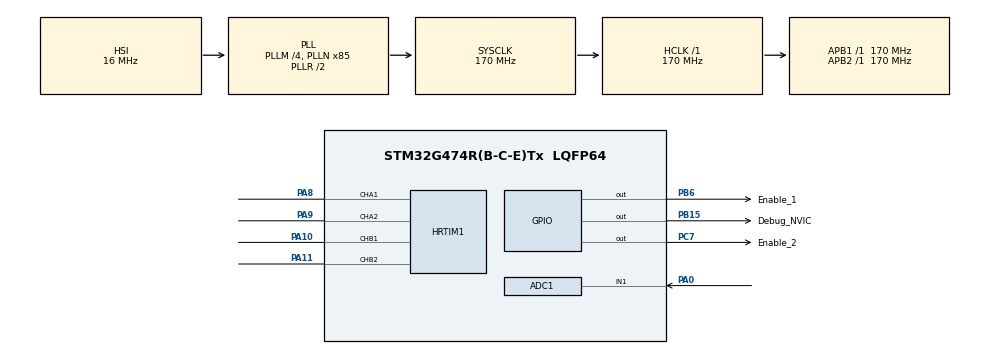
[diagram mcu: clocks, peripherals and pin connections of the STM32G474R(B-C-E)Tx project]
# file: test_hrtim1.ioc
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ADC1.Channel-0\#ChannelRegularConversion=ADC_CHANNEL_1
ADC1.DMAContinuousRequests=DISABLE
ADC1.ExternalTrigConv=ADC_EXTERNALTRIG_HRTIM_TRG1
ADC1.NbrOfConversion=1
ADC1.NbrOfConversionFlag=1
ADC1.OffsetNumber-0\#ChannelRegularConversion=ADC_OFFSET_NONE
ADC1.Rank-0\#ChannelRegularConversion=1
ADC1.SamplingTime-0\#ChannelRegularConversion=ADC_SAMPLETIME_12CYCLES_5
ADC1.master=1
HRTIM1.ADCTrigger1_Source1=HRTIM_ADCTRIGGEREVENT13_MASTER_CMP3
HRTIM1.ADCTrigger_Id1=HRTIM_ADCTRIGGER_1
HRTIM1.ADCTrigger_Id4=__NULL
HRTIM1.Adrom_TA=HRTIM_TIM_ADROM_CREST
HRTIM1.AutoDelayedMode2-Output_TA1TA2=HRTIM_AUTODELAYEDMODE_AUTODELAYED_NOTIMEOUT
HRTIM1.AutoDelayedMode2-Output_TB1TB2=HRTIM_AUTODELAYEDMODE_AUTODELAYED_NOTIMEOUT
HRTIM1.AutoDelayedMode4-Output_TA1TA2=HRTIM_AUTODELAYEDMODE_AUTODELAYED_NOTIMEOUT
HRTIM1.AutoDelayedMode4-Output_TB1TB2=HRTIM_AUTODELAYEDMODE_AUTODELAYED_NOTIMEOUT
HRTIM1.CompareUnit1-MasterTimer=HRTIM_COMPAREUNIT_1
HRTIM1.CompareUnit1-Output_TA1TA2=HRTIM_COMPAREUNIT_1
HRTIM1.CompareUnit1-Output_TB1TB2=HRTIM_COMPAREUNIT_1
HRTIM1.CompareUnit2-MasterTimer=HRTIM_COMPAREUNIT_2
HRTIM1.CompareUnit2-Output_TA1TA2=HRTIM_COMPAREUNIT_2
HRTIM1.CompareUnit2-Output_TB1TB2=HRTIM_COMPAREUNIT_2
HRTIM1.CompareUnit3-MasterTimer=HRTIM_COMPAREUNIT_3
HRTIM1.CompareUnit3-Output_TA1TA2=HRTIM_COMPAREUNIT_3
HRTIM1.CompareUnit3-Output_TB1TB2=HRTIM_COMPAREUNIT_3
HRTIM1.CompareUnit4-Output_TA1TA2=HRTIM_COMPAREUNIT_4
HRTIM1.CompareUnit4-Output_TB1TB2=HRTIM_COMPAREUNIT_4
HRTIM1.CompareValue1-MasterTimer=8500
HRTIM1.CompareValue1-Output_TA1TA2=8500
HRTIM1.CompareValue1-Output_TB1TB2=8500
HRTIM1.CompareValue2-MasterTimer=17000
HRTIM1.CompareValue2-Output_TA1TA2=8500
HRTIM1.CompareValue2-Output_TB1TB2=8500
HRTIM1.CompareValue3-MasterTimer=17000
HRTIM1.CompareValue3-Output_TA1TA2=8500
HRTIM1.CompareValue3-Output_TB1TB2=8500
HRTIM1.CompareValue4-Output_TA1TA2=8500
HRTIM1.CompareValue4-Output_TB1TB2=8500
HRTIM1.GreaterCMP1_TA=HRTIM_TIMERGTCMP1_EQUAL
HRTIM1.InterruptRequests1_Master=HRTIM_MASTER_IT_MCMP3
HRTIM1.NumberADCTriggerSource1=1
HRTIM1.NumberInterruptRequests_Master-MasterTimer=1
HRTIM1.NumberResetSource1-Output_TA1TA2=1
HRTIM1.NumberResetSource1-Output_TB1TB2=1
HRTIM1.NumberResetSource2_TA=1
HRTIM1.NumberResetSource2_TB=1
HRTIM1.NumberResetTrigger-Output_TA1TA2=1
HRTIM1.NumberResetTrigger-Output_TB1TB2=1
HRTIM1.NumberSetSource1-Output_TA1TA2=1
HRTIM1.NumberSetSource1-Output_TB1TB2=1
HRTIM1.NumberSetSource2_TA=1
HRTIM1.NumberSetSource2_TB=1
HRTIM1.NumberUpdateTrigger-Output_TA1TA2=0
HRTIM1.NumberUpdateTrigger-Output_TB1TB2=0
HRTIM1.ORingUpdateSource_ADCTrigger1=HRTIM_ADCTRIGGERUPDATE_MASTER
HRTIM1.Periode_MASTER=34000
HRTIM1.Periode_TA=17000
HRTIM1.Periode_TB=17000
HRTIM1.Polarity1-Output_TA1TA2=HRTIM_OUTPUTPOLARITY_LOW
HRTIM1.Polarity1-Output_TB1TB2=HRTIM_OUTPUTPOLARITY_LOW
HRTIM1.Polarity2-Output_TA1TA2=HRTIM_OUTPUTPOLARITY_LOW
HRTIM1.Polarity2-Output_TB1TB2=HRTIM_OUTPUTPOLARITY_LOW
HRTIM1.PreloadEnable-Output_TA1TA2=HRTIM_PRELOAD_DISABLED
HRTIM1.PrescalerRatio_MASTER=HRTIM_PRESCALERRATIO_MUL4
HRTIM1.PrescalerRatio_TA=HRTIM_PRESCALERRATIO_MUL4
HRTIM1.PrescalerRatio_TB=HRTIM_PRESCALERRATIO_MUL4
HRTIM1.PushPull-Output_TA1TA2=HRTIM_TIMPUSHPULLMODE_DISABLED
HRTIM1.ResetOutput1_Source1-Output_TA1TA2=HRTIM_OUTPUTRESET_TIMCMP2
HRTIM1.ResetOutput1_Source1-Output_TB1TB2=HRTIM_OUTPUTRESET_TIMCMP2
HRTIM1.ResetOutput2_Source1-Output_TA1TA2=HRTIM_OUTPUTRESET_TIMCMP4
HRTIM1.ResetOutput2_Source1-Output_TB1TB2=HRTIM_OUTPUTRESET_TIMCMP4
HRTIM1.ResetTrigger1-Output_TA1TA2=HRTIM_TIMRESETTRIGGER_MASTER_PER
HRTIM1.ResetTrigger1-Output_TB1TB2=HRTIM_TIMRESETTRIGGER_MASTER_CMP1
HRTIM1.ResetUpdate-Output_TA1TA2=HRTIM_TIMUPDATEONRESET_DISABLED
HRTIM1.SetOutput1_Source1-Output_TA1TA2=HRTIM_OUTPUTSET_TIMCMP1
HRTIM1.SetOutput1_Source1-Output_TB1TB2=HRTIM_OUTPUTSET_TIMCMP1
HRTIM1.SetOutput2_Source1-Output_TA1TA2=HRTIM_OUTPUTSET_TIMCMP3
HRTIM1.SetOutput2_Source1-Output_TB1TB2=HRTIM_OUTPUTSET_TIMCMP3
HRTIM1.UpDownMode-Output_TA1TA2=HRTIM_TIMERUPDOWNMODE_UPDOWN
HRTIM1.UpDownMode-Output_TB1TB2=HRTIM_TIMERUPDOWNMODE_UPDOWN
HRTIM1.postscaler1=0
Mcu.Family=STM32G4
Mcu.Name=STM32G474R(B-C-E)Tx
Mcu.Package=LQFP64
NVIC.ADC1_2_IRQn=true\:2\:0\:true\:false\:true\:true\:true\:true
NVIC.HRTIM1_Master_IRQn=true\:1\:0\:true\:false\:true\:true\:true\:true
NVIC.PriorityGroup=NVIC_PRIORITYGROUP_4
PA0.Mode=IN1-Single-Ended
PA0.Signal=ADC1_IN1
PA10.Mode=Output_TB1TB2
PA10.Signal=HRTIM1_CHB1
PA11.Mode=Output_TB1TB2
PA11.Signal=HRTIM1_CHB2
PA8.Mode=Output_TA1TA2
PA8.Signal=HRTIM1_CHA1
PA9.Mode=Output_TA1TA2
PA9.Signal=HRTIM1_CHA2
PB15.GPIO_Label=Debug_NVIC
PB15.PinState=GPIO_PIN_SET
PB15.Signal=GPIO_Output
PB6.GPIO_Label=Enable_1
PB6.GPIO_Speed=GPIO_SPEED_FREQ_VERY_HIGH
PB6.PinState=GPIO_PIN_SET
PB6.Signal=GPIO_Output
PC7.GPIO_Label=Enable_2
PC7.GPIO_Speed=GPIO_SPEED_FREQ_VERY_HIGH
PC7.PinState=GPIO_PIN_SET
PC7.Signal=GPIO_Output
ProjectManager.HeapSize=0x200
ProjectManager.StackSize=0x400
ProjectManager.TargetToolchain=STM32CubeIDE
RCC.ADC12Freq_Value=170000000
RCC.ADC345Freq_Value=170000000
RCC.AHBFreq_Value=170000000
RCC.APB1Freq_Value=170000000
RCC.APB1TimFreq_Value=170000000
RCC.APB2Freq_Value=170000000
RCC.APB2TimFreq_Value=170000000
RCC.CortexFreq_Value=170000000
RCC.EXTERNAL_CLOCK_VALUE=12288000
RCC.HCLKFreq_Value=170000000
RCC.HSE_VALUE=8000000
RCC.HSI48_VALUE=48000000
RCC.HSI_VALUE=16000000
RCC.LSE_VALUE=32768
RCC.PLLM=RCC_PLLM_DIV4
RCC.PLLN=85
RCC.SYSCLKFreq_VALUE=170000000
RCC.SYSCLKSource=RCC_SYSCLKSOURCE_PLLCLK
RCC.USBFreq_Value=170000000
RCC.VCOOutputFreq_Value=340000000
VP_HRTIM1_VS_hrtimMasterTimerNoOutput.Mode=MasterTimer
VP_SYS_VS_DBSignals.Mode=DisableDeadBatterySignals
board=custom

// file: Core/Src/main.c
/* USER CODE BEGIN Header */
/**
  ******************************************************************************
  * @file           : main.c
  * @brief          : Main program body
  ******************************************************************************
  * @attention
  *
  * Copyright (c) 2026 STMicroelectronics.
  * All rights reserved.
  *
  * This software is licensed under terms that can be found in the LICENSE file
  * in the root directory of this software component.
  * If no LICENSE file comes with this software, it is provided AS-IS.
  *
  ******************************************************************************
  */
/* USER CODE END Header */
#include "main.h"

/* USER CODE BEGIN Includes */
#include "math.h"
/* USER CODE END Includes */

/* USER CODE BEGIN PTD */
typedef enum
{
    TRAP_POS_RISE = 0,
    TRAP_POS_HOLD,
    TRAP_POS_FALL,

    TRAP_NEG_RISE,
    TRAP_NEG_HOLD,
    TRAP_NEG_FALL

} TrapState;
/* USER CODE END PTD */

ADC_HandleTypeDef hadc1;

HRTIM_HandleTypeDef hhrtim1;

/* USER CODE BEGIN PV */
volatile float u;
volatile uint8_t tick;
uint32_t arr;
uint32_t duty;
uint32_t duty_l;
uint32_t duty_r;
uint32_t duty_l0;
uint32_t duty_r0;

volatile uint8_t mcmp3 = 0;  // флаг прерывания ацп

volatile uint16_t adc_raw;

// переменные для пересчета из дискрет в амперы
#define ADC_MAX_CODE   4095.0f //
#define CURRENT_MAX_A  4.7f
float adc_zero = 2070.0f;
volatile float current_A;

volatile uint32_t control_loop_count = 0; // проверка захода в цикл

#define CONTROL_FREQ_HZ      20000U
#define SQUARE_HOLD_TIME_S   0.25f
#define U_NEG               -0.2f
#define U_POS                0.2f

//pi regulator
volatile float i_ref;
float Kp = 1.312f;
float Ki = 0.0167f;
float er;
float Int_e;

//trapezoidal
#define I_REF_AMP_A        4.0f
#define TRAP_RAMP_TIME_S   0.006f   // 10 мс
#define TRAP_HOLD_TIME_S   0.05f   // 20 мс

/* USER CODE END PV */

void SystemClock_Config(void);
static void MX_GPIO_Init(void);
static void MX_HRTIM1_Init(void);
static void MX_ADC1_Init(void);
/* USER CODE BEGIN PFP */

float sign(float x) {
    if (x > 0) return 1.0f;
    if (x < 0) return -1.0f;
    return 0.0f;
}

float saturation(float x, float y){
if (fabsf(x) >= y){
	x = y * sign(x);
}
return x;
}

void pwm_unipolar_A(float u){

	float u_sat = saturation(u, 1.0f);
	arr = 17000;
	duty_l = (uint32_t)(fabsf(u_sat + 1) * 0.5f * (arr));
	duty_r = (uint32_t)(fabsf(1 - u_sat) * 0.5f * (arr));
	__HAL_HRTIM_SETCOMPARE(&hhrtim1, HRTIM_TIMERINDEX_TIMER_A, HRTIM_COMPAREUNIT_1, duty_r);
	__HAL_HRTIM_SETCOMPARE(&hhrtim1, HRTIM_TIMERINDEX_TIMER_A, HRTIM_COMPAREUNIT_3, duty_l);
}

void pwm_unipolar_B(float u){

	float u_sat = saturation(u, 1.0f);
	arr = 17000;
	duty_l0 = (uint32_t)(fabsf(u_sat + 1) * 0.5f * (arr));
	duty_r0 = (uint32_t)(fabsf(1 - u_sat) * 0.5f * (arr));
	__HAL_HRTIM_SETCOMPARE(&hhrtim1, HRTIM_TIMERINDEX_TIMER_B, HRTIM_COMPAREUNIT_1, duty_r0);
	__HAL_HRTIM_SETCOMPARE(&hhrtim1, HRTIM_TIMERINDEX_TIMER_B, HRTIM_COMPAREUNIT_3, duty_l0);
}

float adc_to_current(uint16_t adc_value)
{
    float k = CURRENT_MAX_A / (ADC_MAX_CODE / 2.0f);
    return ((float)adc_value - adc_zero) * k;
}

float generator_i_ref_square(void)
{
    static uint32_t counter = 0;
    static float i_local = -0.3f;

    const float I_REF_NEG = -1.0f;
    const float I_REF_POS =  1.0f;

    const float T_HOLD = 0.2f;       // 25 постоянных времени
    const uint32_t hold_ticks = (uint32_t)(CONTROL_FREQ_HZ * T_HOLD);

    counter++;

    if (counter >= hold_ticks)
    {
        counter = 0;

        if (i_local < 0.0f)
        {
            i_local = I_REF_POS;
        }
        else
        {
            i_local = I_REF_NEG;
        }
    }
    return i_local;
}

float generator_i_ref_trapezoid(void)
{
    static TrapState state = TRAP_POS_RISE;
    static uint32_t counter = 0;

    const uint32_t ramp_ticks = (uint32_t)(TRAP_RAMP_TIME_S * CONTROL_FREQ_HZ);
    const uint32_t hold_ticks = (uint32_t)(TRAP_HOLD_TIME_S * CONTROL_FREQ_HZ);

    float i_ref_local = 0.0f;

    switch (state)
    {
        case TRAP_POS_RISE:
            // 0 -> +1 А
            i_ref_local = I_REF_AMP_A * ((float)counter / (float)ramp_ticks);

            counter++;
            if (counter >= ramp_ticks)
            {
                counter = 0;
                state = TRAP_POS_HOLD;
            }
            break;

        case TRAP_POS_HOLD:
            // плато +1 А
            i_ref_local = I_REF_AMP_A;

            counter++;
            if (counter >= hold_ticks)
            {
                counter = 0;
                state = TRAP_POS_FALL;
            }
            break;

        case TRAP_POS_FALL:
            // +1 А -> 0
            i_ref_local = I_REF_AMP_A * (1.0f - ((float)counter / (float)ramp_ticks));

            counter++;
            if (counter >= ramp_ticks)
            {
                counter = 0;
                state = TRAP_NEG_RISE;
            }
            break;

        case TRAP_NEG_RISE:
            // 0 -> -1 А
            i_ref_local = -I_REF_AMP_A * ((float)counter / (float)ramp_ticks);

            counter++;
            if (counter >= ramp_ticks)
            {
                counter = 0;
                state = TRAP_NEG_HOLD;
            }
            break;

        case TRAP_NEG_HOLD:
            // плато -1 А
            i_ref_local = -I_REF_AMP_A;

            counter++;
            if (counter >= hold_ticks)
            {
                counter = 0;
                state = TRAP_NEG_FALL;
            }
            break;

        case TRAP_NEG_FALL:
            // -1 А -> 0
            i_ref_local = -I_REF_AMP_A * (1.0f - ((float)counter / (float)ramp_ticks));

            counter++;
            if (counter >= ramp_ticks)
            {
                counter = 0;
                state = TRAP_POS_RISE;
            }
            break;

        default:
            counter = 0;
            state = TRAP_POS_RISE;
            i_ref_local = 0.0f;
            break;
    }

    return i_ref_local;
}
/* USER CODE END PFP */

int main(void)
{

  /* MCU Configuration--------------------------------------------------------*/

  /* Reset of all peripherals, Initializes the Flash interface and the Systick. */
  HAL_Init();

  /* Configure the system clock */
  SystemClock_Config();

  /* Initialize all configured peripherals */
  MX_GPIO_Init();
  MX_HRTIM1_Init();
  MX_ADC1_Init();
  /* USER CODE BEGIN 2 */
//------------------------------------------------------------
  HAL_ADCEx_Calibration_Start(&hadc1, ADC_SINGLE_ENDED);
  HAL_ADC_Start_IT(&hadc1);
  //HAL_ADC_Start_DMA(&hadc1, (uint32_t *)&adc_raw, 1);

  //Включаем физические выходы (Output 1,2) для Таймера A
   HAL_HRTIM_WaveformOutputStart(&hhrtim1, HRTIM_OUTPUT_TA1);
   HAL_HRTIM_WaveformOutputStart(&hhrtim1, HRTIM_OUTPUT_TA2);

   HAL_HRTIM_WaveformOutputStart(&hhrtim1, HRTIM_OUTPUT_TB1);
   HAL_HRTIM_WaveformOutputStart(&hhrtim1, HRTIM_OUTPUT_TB2);
    //Запускаем счетчик Таймера A и B
   HAL_HRTIM_WaveformCountStart(&hhrtim1, HRTIM_TIMERID_MASTER);
   HAL_HRTIM_WaveformCountStart(&hhrtim1, HRTIM_TIMERID_TIMER_A);
   HAL_HRTIM_WaveformCountStart(&hhrtim1, HRTIM_TIMERID_TIMER_B);

   //__HAL_HRTIM_SETCOMPARE(&hhrtim1, HRTIM_TIMERINDEX_TIMER_A, HRTIM_COMPAREUNIT_1, 8500);

   //__HAL_HRTIM_SETCOMPARE(&hhrtim1, HRTIM_TIMERINDEX_TIMER_A, HRTIM_COMPAREUNIT_3, 8500);

  /* USER CODE END 2 */

  /* Infinite loop */
  /* USER CODE BEGIN WHILE */
  while (1)
  {
	  if (mcmp3) {
		  mcmp3 = 0;

		  i_ref = generator_i_ref_trapezoid();
		  er = i_ref - current_A;
		  Int_e += Ki * er;
		  Int_e = saturation(Int_e, 0.95f);
		  u = Kp * er + Int_e;
		  u = saturation(u, 0.95f);

		 // u = generator_u_square();
		  pwm_unipolar_A(u);
		  pwm_unipolar_B(u);

	    control_loop_count ++;
	  }

    /* USER CODE END WHILE */

  }
}

void SystemClock_Config(void)
{
  RCC_OscInitTypeDef RCC_OscInitStruct = {0};
  RCC_ClkInitTypeDef RCC_ClkInitStruct = {0};

  /** Configure the main internal regulator output voltage
  */
  HAL_PWREx_ControlVoltageScaling(PWR_REGULATOR_VOLTAGE_SCALE1_BOOST);

  /** Initializes the RCC Oscillators according to the specified parameters
  * in the RCC_OscInitTypeDef structure.
  */
  RCC_OscInitStruct.OscillatorType = RCC_OSCILLATORTYPE_HSI;
  RCC_OscInitStruct.HSIState = RCC_HSI_ON;
  RCC_OscInitStruct.HSICalibrationValue = RCC_HSICALIBRATION_DEFAULT;
  RCC_OscInitStruct.PLL.PLLState = RCC_PLL_ON;
  RCC_OscInitStruct.PLL.PLLSource = RCC_PLLSOURCE_HSI;
  RCC_OscInitStruct.PLL.PLLM = RCC_PLLM_DIV4;
  RCC_OscInitStruct.PLL.PLLN = 85;
  RCC_OscInitStruct.PLL.PLLP = RCC_PLLP_DIV2;
  RCC_OscInitStruct.PLL.PLLQ = RCC_PLLQ_DIV2;
  RCC_OscInitStruct.PLL.PLLR = RCC_PLLR_DIV2;
  if (HAL_RCC_OscConfig(&RCC_OscInitStruct) != HAL_OK)
  {
    Error_Handler();
  }

  /** Initializes the CPU, AHB and APB buses clocks
  */
  RCC_ClkInitStruct.ClockType = RCC_CLOCKTYPE_HCLK|RCC_CLOCKTYPE_SYSCLK
                              |RCC_CLOCKTYPE_PCLK1|RCC_CLOCKTYPE_PCLK2;
  RCC_ClkInitStruct.SYSCLKSource = RCC_SYSCLKSOURCE_PLLCLK;
  RCC_ClkInitStruct.AHBCLKDivider = RCC_SYSCLK_DIV1;
  RCC_ClkInitStruct.APB1CLKDivider = RCC_HCLK_DIV1;
  RCC_ClkInitStruct.APB2CLKDivider = RCC_HCLK_DIV1;

  if (HAL_RCC_ClockConfig(&RCC_ClkInitStruct, FLASH_LATENCY_4) != HAL_OK)
  {
    Error_Handler();
  }
}

static void MX_ADC1_Init(void)
{

  ADC_MultiModeTypeDef multimode = {0};
  ADC_ChannelConfTypeDef sConfig = {0};

  /** Common config
  */
  hadc1.Instance = ADC1;
  hadc1.Init.ClockPrescaler = ADC_CLOCK_SYNC_PCLK_DIV4;
  hadc1.Init.Resolution = ADC_RESOLUTION_12B;
  hadc1.Init.DataAlign = ADC_DATAALIGN_RIGHT;
  hadc1.Init.GainCompensation = 0;
  hadc1.Init.ScanConvMode = ADC_SCAN_DISABLE;
  hadc1.Init.EOCSelection = ADC_EOC_SINGLE_CONV;
  hadc1.Init.LowPowerAutoWait = DISABLE;
  hadc1.Init.ContinuousConvMode = DISABLE;
  hadc1.Init.NbrOfConversion = 1;
  hadc1.Init.DiscontinuousConvMode = DISABLE;
  hadc1.Init.ExternalTrigConv = ADC_EXTERNALTRIG_HRTIM_TRG1;
  hadc1.Init.ExternalTrigConvEdge = ADC_EXTERNALTRIGCONVEDGE_RISING;
  hadc1.Init.DMAContinuousRequests = DISABLE;
  hadc1.Init.Overrun = ADC_OVR_DATA_PRESERVED;
  hadc1.Init.OversamplingMode = DISABLE;
  if (HAL_ADC_Init(&hadc1) != HAL_OK)
  {
    Error_Handler();
  }

  /** Configure the ADC multi-mode
  */
  multimode.Mode = ADC_MODE_INDEPENDENT;
  if (HAL_ADCEx_MultiModeConfigChannel(&hadc1, &multimode) != HAL_OK)
  {
    Error_Handler();
  }

  /** Configure Regular Channel
  */
  sConfig.Channel = ADC_CHANNEL_1;
  sConfig.Rank = ADC_REGULAR_RANK_1;
  sConfig.SamplingTime = ADC_SAMPLETIME_12CYCLES_5;
  sConfig.SingleDiff = ADC_SINGLE_ENDED;
  sConfig.OffsetNumber = ADC_OFFSET_NONE;
  sConfig.Offset = 0;
  if (HAL_ADC_ConfigChannel(&hadc1, &sConfig) != HAL_OK)
  {
    Error_Handler();
  }

}

static void MX_HRTIM1_Init(void)
{

  HRTIM_ADCTriggerCfgTypeDef pADCTriggerCfg = {0};
  HRTIM_TimeBaseCfgTypeDef pTimeBaseCfg = {0};
  HRTIM_TimerCfgTypeDef pTimerCfg = {0};
  HRTIM_CompareCfgTypeDef pCompareCfg = {0};
  HRTIM_TimerCtlTypeDef pTimerCtl = {0};
  HRTIM_OutputCfgTypeDef pOutputCfg = {0};

  hhrtim1.Instance = HRTIM1;
  hhrtim1.Init.HRTIMInterruptResquests = HRTIM_IT_NONE;
  hhrtim1.Init.SyncOptions = HRTIM_SYNCOPTION_NONE;
  if (HAL_HRTIM_Init(&hhrtim1) != HAL_OK)
  {
    Error_Handler();
  }
  if (HAL_HRTIM_DLLCalibrationStart(&hhrtim1, HRTIM_CALIBRATIONRATE_3) != HAL_OK)
  {
    Error_Handler();
  }
  if (HAL_HRTIM_PollForDLLCalibration(&hhrtim1, 10) != HAL_OK)
  {
    Error_Handler();
  }
  pADCTriggerCfg.UpdateSource = HRTIM_ADCTRIGGERUPDATE_MASTER;
  pADCTriggerCfg.Trigger = HRTIM_ADCTRIGGEREVENT13_MASTER_CMP3;
  if (HAL_HRTIM_ADCTriggerConfig(&hhrtim1, HRTIM_ADCTRIGGER_1, &pADCTriggerCfg) != HAL_OK)
  {
    Error_Handler();
  }
  if (HAL_HRTIM_ADCPostScalerConfig(&hhrtim1, HRTIM_ADCTRIGGER_1, 0) != HAL_OK)
  {
    Error_Handler();
  }
  pTimeBaseCfg.Period = 34000;
  pTimeBaseCfg.RepetitionCounter = 0x00;
  pTimeBaseCfg.PrescalerRatio = HRTIM_PRESCALERRATIO_MUL4;
  pTimeBaseCfg.Mode = HRTIM_MODE_CONTINUOUS;
  if (HAL_HRTIM_TimeBaseConfig(&hhrtim1, HRTIM_TIMERINDEX_MASTER, &pTimeBaseCfg) != HAL_OK)
  {
    Error_Handler();
  }
  pTimerCfg.InterruptRequests = HRTIM_MASTER_IT_MCMP3;
  pTimerCfg.DMARequests = HRTIM_MASTER_DMA_NONE;
  pTimerCfg.DMASrcAddress = 0x0000;
  pTimerCfg.DMADstAddress = 0x0000;
  pTimerCfg.DMASize = 0x1;
  pTimerCfg.HalfModeEnable = HRTIM_HALFMODE_DISABLED;
  pTimerCfg.InterleavedMode = HRTIM_INTERLEAVED_MODE_DISABLED;
  pTimerCfg.StartOnSync = HRTIM_SYNCSTART_DISABLED;
  pTimerCfg.ResetOnSync = HRTIM_SYNCRESET_DISABLED;
  pTimerCfg.DACSynchro = HRTIM_DACSYNC_NONE;
  pTimerCfg.PreloadEnable = HRTIM_PRELOAD_DISABLED;
  pTimerCfg.UpdateGating = HRTIM_UPDATEGATING_INDEPENDENT;
  pTimerCfg.BurstMode = HRTIM_TIMERBURSTMODE_MAINTAINCLOCK;
  pTimerCfg.RepetitionUpdate = HRTIM_UPDATEONREPETITION_DISABLED;
  pTimerCfg.ReSyncUpdate = HRTIM_TIMERESYNC_UPDATE_UNCONDITIONAL;
  if (HAL_HRTIM_WaveformTimerConfig(&hhrtim1, HRTIM_TIMERINDEX_MASTER, &pTimerCfg) != HAL_OK)
  {
    Error_Handler();
  }
  pCompareCfg.CompareValue = 8500;
  if (HAL_HRTIM_WaveformCompareConfig(&hhrtim1, HRTIM_TIMERINDEX_MASTER, HRTIM_COMPAREUNIT_1, &pCompareCfg) != HAL_OK)
  {
    Error_Handler();
  }
  pCompareCfg.CompareValue = 17000;
  if (HAL_HRTIM_WaveformCompareConfig(&hhrtim1, HRTIM_TIMERINDEX_MASTER, HRTIM_COMPAREUNIT_2, &pCompareCfg) != HAL_OK)
  {
    Error_Handler();
  }
  if (HAL_HRTIM_WaveformCompareConfig(&hhrtim1, HRTIM_TIMERINDEX_MASTER, HRTIM_COMPAREUNIT_3, &pCompareCfg) != HAL_OK)
  {
    Error_Handler();
  }
  pTimeBaseCfg.Period = 17000;
  if (HAL_HRTIM_TimeBaseConfig(&hhrtim1, HRTIM_TIMERINDEX_TIMER_A, &pTimeBaseCfg) != HAL_OK)
  {
    Error_Handler();
  }
  pTimerCtl.UpDownMode = HRTIM_TIMERUPDOWNMODE_UPDOWN;
  pTimerCtl.TrigHalf = HRTIM_TIMERTRIGHALF_DISABLED;
  pTimerCtl.GreaterCMP3 = HRTIM_TIMERGTCMP3_EQUAL;
  pTimerCtl.GreaterCMP1 = HRTIM_TIMERGTCMP1_EQUAL;
  pTimerCtl.DualChannelDacEnable = HRTIM_TIMER_DCDE_DISABLED;
  if (HAL_HRTIM_WaveformTimerControl(&hhrtim1, HRTIM_TIMERINDEX_TIMER_A, &pTimerCtl) != HAL_OK)
  {
    Error_Handler();
  }
  if (HAL_HRTIM_RollOverModeConfig(&hhrtim1, HRTIM_TIMERINDEX_TIMER_A, HRTIM_TIM_FEROM_BOTH|HRTIM_TIM_BMROM_BOTH
                              |HRTIM_TIM_ADROM_CREST|HRTIM_TIM_OUTROM_BOTH
                              |HRTIM_TIM_ROM_BOTH) != HAL_OK)
  {
    Error_Handler();
  }
  pTimerCfg.InterruptRequests = HRTIM_TIM_IT_NONE;
  pTimerCfg.DMARequests = HRTIM_TIM_DMA_NONE;
  pTimerCfg.PushPull = HRTIM_TIMPUSHPULLMODE_DISABLED;
  pTimerCfg.FaultEnable = HRTIM_TIMFAULTENABLE_NONE;
  pTimerCfg.FaultLock = HRTIM_TIMFAULTLOCK_READWRITE;
  pTimerCfg.DeadTimeInsertion = HRTIM_TIMDEADTIMEINSERTION_DISABLED;
  pTimerCfg.DelayedProtectionMode = HRTIM_TIMER_A_B_C_DELAYEDPROTECTION_DISABLED;
  pTimerCfg.UpdateTrigger = HRTIM_TIMUPDATETRIGGER_NONE;
  pTimerCfg.ResetTrigger = HRTIM_TIMRESETTRIGGER_MASTER_PER;
  pTimerCfg.ResetUpdate = HRTIM_TIMUPDATEONRESET_DISABLED;
  if (HAL_HRTIM_WaveformTimerConfig(&hhrtim1, HRTIM_TIMERINDEX_TIMER_A, &pTimerCfg) != HAL_OK)
  {
    Error_Handler();
  }
  pTimerCfg.ResetTrigger = HRTIM_TIMRESETTRIGGER_MASTER_CMP1;
  if (HAL_HRTIM_WaveformTimerConfig(&hhrtim1, HRTIM_TIMERINDEX_TIMER_B, &pTimerCfg) != HAL_OK)
  {
    Error_Handler();
  }
  pCompareCfg.CompareValue = 8500;
  if (HAL_HRTIM_WaveformCompareConfig(&hhrtim1, HRTIM_TIMERINDEX_TIMER_A, HRTIM_COMPAREUNIT_1, &pCompareCfg) != HAL_OK)
  {
    Error_Handler();
  }
  pCompareCfg.AutoDelayedMode = HRTIM_AUTODELAYEDMODE_AUTODELAYED_NOTIMEOUT;
  pCompareCfg.AutoDelayedTimeout = 0x0000;

  if (HAL_HRTIM_WaveformCompareConfig(&hhrtim1, HRTIM_TIMERINDEX_TIMER_A, HRTIM_COMPAREUNIT_2, &pCompareCfg) != HAL_OK)
  {
    Error_Handler();
  }
  if (HAL_HRTIM_WaveformCompareConfig(&hhrtim1, HRTIM_TIMERINDEX_TIMER_A, HRTIM_COMPAREUNIT_3, &pCompareCfg) != HAL_OK)
  {
    Error_Handler();
  }

  if (HAL_HRTIM_WaveformCompareConfig(&hhrtim1, HRTIM_TIMERINDEX_TIMER_A, HRTIM_COMPAREUNIT_4, &pCompareCfg) != HAL_OK)
  {
    Error_Handler();
  }

  if (HAL_HRTIM_WaveformCompareConfig(&hhrtim1, HRTIM_TIMERINDEX_TIMER_B, HRTIM_COMPAREUNIT_4, &pCompareCfg) != HAL_OK)
  {
    Error_Handler();
  }
  pOutputCfg.Polarity = HRTIM_OUTPUTPOLARITY_LOW;
  pOutputCfg.SetSource = HRTIM_OUTPUTSET_TIMCMP1;
  pOutputCfg.ResetSource = HRTIM_OUTPUTRESET_TIMCMP2;
  pOutputCfg.IdleMode = HRTIM_OUTPUTIDLEMODE_NONE;
  pOutputCfg.IdleLevel = HRTIM_OUTPUTIDLELEVEL_INACTIVE;
  pOutputCfg.FaultLevel = HRTIM_OUTPUTFAULTLEVEL_NONE;
  pOutputCfg.ChopperModeEnable = HRTIM_OUTPUTCHOPPERMODE_DISABLED;
  pOutputCfg.BurstModeEntryDelayed = HRTIM_OUTPUTBURSTMODEENTRY_REGULAR;
  if (HAL_HRTIM_WaveformOutputConfig(&hhrtim1, HRTIM_TIMERINDEX_TIMER_A, HRTIM_OUTPUT_TA1, &pOutputCfg) != HAL_OK)
  {
    Error_Handler();
  }
  if (HAL_HRTIM_WaveformOutputConfig(&hhrtim1, HRTIM_TIMERINDEX_TIMER_B, HRTIM_OUTPUT_TB1, &pOutputCfg) != HAL_OK)
  {
    Error_Handler();
  }
  pOutputCfg.SetSource = HRTIM_OUTPUTSET_TIMCMP3;
  pOutputCfg.ResetSource = HRTIM_OUTPUTRESET_TIMCMP4;
  if (HAL_HRTIM_WaveformOutputConfig(&hhrtim1, HRTIM_TIMERINDEX_TIMER_A, HRTIM_OUTPUT_TA2, &pOutputCfg) != HAL_OK)
  {
    Error_Handler();
  }
  if (HAL_HRTIM_WaveformOutputConfig(&hhrtim1, HRTIM_TIMERINDEX_TIMER_B, HRTIM_OUTPUT_TB2, &pOutputCfg) != HAL_OK)
  {
    Error_Handler();
  }
  if (HAL_HRTIM_TimeBaseConfig(&hhrtim1, HRTIM_TIMERINDEX_TIMER_B, &pTimeBaseCfg) != HAL_OK)
  {
    Error_Handler();
  }
  if (HAL_HRTIM_WaveformTimerControl(&hhrtim1, HRTIM_TIMERINDEX_TIMER_B, &pTimerCtl) != HAL_OK)
  {
    Error_Handler();
  }
  if (HAL_HRTIM_RollOverModeConfig(&hhrtim1, HRTIM_TIMERINDEX_TIMER_B, HRTIM_TIM_FEROM_BOTH|HRTIM_TIM_BMROM_BOTH
                              |HRTIM_TIM_ADROM_BOTH|HRTIM_TIM_OUTROM_BOTH
                              |HRTIM_TIM_ROM_BOTH) != HAL_OK)
  {
    Error_Handler();
  }
  if (HAL_HRTIM_WaveformCompareConfig(&hhrtim1, HRTIM_TIMERINDEX_TIMER_B, HRTIM_COMPAREUNIT_1, &pCompareCfg) != HAL_OK)
  {
    Error_Handler();
  }

  if (HAL_HRTIM_WaveformCompareConfig(&hhrtim1, HRTIM_TIMERINDEX_TIMER_B, HRTIM_COMPAREUNIT_2, &pCompareCfg) != HAL_OK)
  {
    Error_Handler();
  }
  if (HAL_HRTIM_WaveformCompareConfig(&hhrtim1, HRTIM_TIMERINDEX_TIMER_B, HRTIM_COMPAREUNIT_3, &pCompareCfg) != HAL_OK)
  {
    Error_Handler();
  }
  HAL_HRTIM_MspPostInit(&hhrtim1);

}

static void MX_GPIO_Init(void)
{
  GPIO_InitTypeDef GPIO_InitStruct = {0};

  /* GPIO Ports Clock Enable */
  __HAL_RCC_GPIOA_CLK_ENABLE();
  __HAL_RCC_GPIOB_CLK_ENABLE();
  __HAL_RCC_GPIOC_CLK_ENABLE();

  /*Configure GPIO pin Output Level */
  HAL_GPIO_WritePin(GPIOB, Debug_NVIC_Pin|Enable_1_Pin, GPIO_PIN_SET);

  /*Configure GPIO pin Output Level */
  HAL_GPIO_WritePin(Enable_2_GPIO_Port, Enable_2_Pin, GPIO_PIN_SET);

  /*Configure GPIO pin : Debug_NVIC_Pin */
  GPIO_InitStruct.Pin = Debug_NVIC_Pin;
  GPIO_InitStruct.Mode = GPIO_MODE_OUTPUT_PP;
  GPIO_InitStruct.Pull = GPIO_NOPULL;
  GPIO_InitStruct.Speed = GPIO_SPEED_FREQ_LOW;
  HAL_GPIO_Init(Debug_NVIC_GPIO_Port, &GPIO_InitStruct);

  /*Configure GPIO pin : Enable_2_Pin */
  GPIO_InitStruct.Pin = Enable_2_Pin;
  GPIO_InitStruct.Mode = GPIO_MODE_OUTPUT_PP;
  GPIO_InitStruct.Pull = GPIO_NOPULL;
  GPIO_InitStruct.Speed = GPIO_SPEED_FREQ_VERY_HIGH;
  HAL_GPIO_Init(Enable_2_GPIO_Port, &GPIO_InitStruct);

  /*Configure GPIO pin : Enable_1_Pin */
  GPIO_InitStruct.Pin = Enable_1_Pin;
  GPIO_InitStruct.Mode = GPIO_MODE_OUTPUT_PP;
  GPIO_InitStruct.Pull = GPIO_NOPULL;
  GPIO_InitStruct.Speed = GPIO_SPEED_FREQ_VERY_HIGH;
  HAL_GPIO_Init(Enable_1_GPIO_Port, &GPIO_InitStruct);

}

/* USER CODE BEGIN 4 */

void HAL_ADC_ConvCpltCallback(ADC_HandleTypeDef * hadc){
	if(hadc -> Instance == ADC1){

	    adc_raw = HAL_ADC_GetValue(&hadc1);
	    current_A = adc_to_current(adc_raw);
	    mcmp3 = 1;
	}
}

/* USER CODE END 4 */

void Error_Handler(void)
{
  __disable_irq();
  while (1)
  {
  }
}
